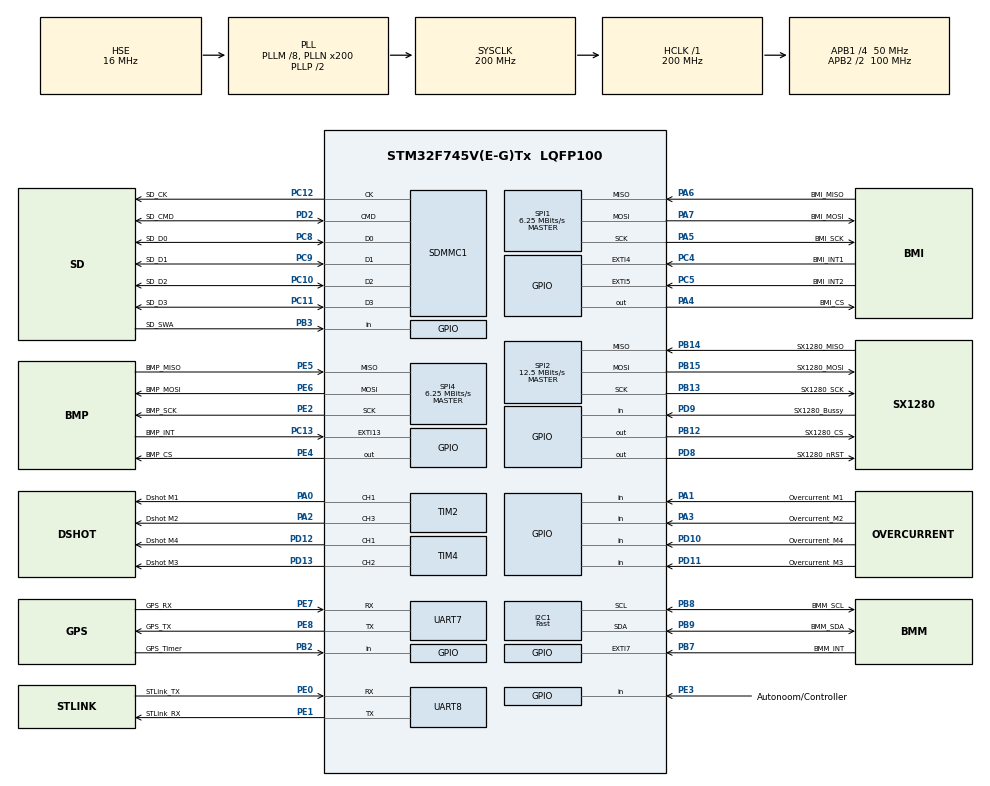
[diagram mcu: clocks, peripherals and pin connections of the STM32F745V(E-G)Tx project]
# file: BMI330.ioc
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CORTEX_M7.default_mode_Activation=1
Dma.Request0=TIM4_CH1
Dma.Request1=TIM4_CH2
Dma.Request2=TIM2_UP/CH3
Dma.Request3=TIM2_CH1
Dma.TIM2_CH1.3.Direction=DMA_MEMORY_TO_PERIPH
Dma.TIM2_CH1.3.FIFOMode=DMA_FIFOMODE_DISABLE
Dma.TIM2_CH1.3.Instance=DMA1_Stream5
Dma.TIM2_CH1.3.MemDataAlignment=DMA_MDATAALIGN_WORD
Dma.TIM2_CH1.3.MemInc=DMA_MINC_ENABLE
Dma.TIM2_CH1.3.Mode=DMA_NORMAL
Dma.TIM2_CH1.3.PeriphDataAlignment=DMA_PDATAALIGN_WORD
Dma.TIM2_CH1.3.PeriphInc=DMA_PINC_DISABLE
Dma.TIM2_CH1.3.Priority=DMA_PRIORITY_VERY_HIGH
Dma.TIM2_UP/CH3.2.Direction=DMA_MEMORY_TO_PERIPH
Dma.TIM2_UP/CH3.2.FIFOMode=DMA_FIFOMODE_DISABLE
Dma.TIM2_UP/CH3.2.Instance=DMA1_Stream1
Dma.TIM2_UP/CH3.2.MemDataAlignment=DMA_MDATAALIGN_WORD
Dma.TIM2_UP/CH3.2.MemInc=DMA_MINC_ENABLE
Dma.TIM2_UP/CH3.2.Mode=DMA_NORMAL
Dma.TIM2_UP/CH3.2.PeriphDataAlignment=DMA_PDATAALIGN_WORD
Dma.TIM2_UP/CH3.2.PeriphInc=DMA_PINC_DISABLE
Dma.TIM2_UP/CH3.2.Priority=DMA_PRIORITY_VERY_HIGH
Dma.TIM4_CH1.0.Direction=DMA_MEMORY_TO_PERIPH
Dma.TIM4_CH1.0.FIFOMode=DMA_FIFOMODE_DISABLE
Dma.TIM4_CH1.0.Instance=DMA1_Stream0
Dma.TIM4_CH1.0.MemDataAlignment=DMA_MDATAALIGN_HALFWORD
Dma.TIM4_CH1.0.MemInc=DMA_MINC_ENABLE
Dma.TIM4_CH1.0.Mode=DMA_NORMAL
Dma.TIM4_CH1.0.PeriphDataAlignment=DMA_PDATAALIGN_HALFWORD
Dma.TIM4_CH1.0.PeriphInc=DMA_PINC_DISABLE
Dma.TIM4_CH1.0.Priority=DMA_PRIORITY_VERY_HIGH
Dma.TIM4_CH2.1.Direction=DMA_MEMORY_TO_PERIPH
Dma.TIM4_CH2.1.FIFOMode=DMA_FIFOMODE_DISABLE
Dma.TIM4_CH2.1.Instance=DMA1_Stream3
Dma.TIM4_CH2.1.MemDataAlignment=DMA_MDATAALIGN_HALFWORD
Dma.TIM4_CH2.1.MemInc=DMA_MINC_ENABLE
Dma.TIM4_CH2.1.Mode=DMA_NORMAL
Dma.TIM4_CH2.1.PeriphDataAlignment=DMA_PDATAALIGN_HALFWORD
Dma.TIM4_CH2.1.PeriphInc=DMA_PINC_DISABLE
Dma.TIM4_CH2.1.Priority=DMA_PRIORITY_VERY_HIGH
FATFS.BSP.number=1
FATFS0.BSP.STBoard=false
FATFS0.BSP.api=Unknown
FATFS0.BSP.instance=PB3
FATFS0.BSP.ip=GPIO
FATFS0.BSP.mode=Input
FATFS0.BSP.name=Detect_SDIO
FATFS0.BSP.solution=PB3
I2C1.I2C_Speed_Mode=I2C_Fast
I2C1.Timing=0x00401959
Mcu.Family=STM32F7
Mcu.Name=STM32F745V(E-G)Tx
Mcu.Package=LQFP100
NVIC.DMA1_Stream0_IRQn=true\:0\:0\:false\:false\:true\:false\:true\:true
NVIC.DMA1_Stream1_IRQn=true\:0\:0\:false\:false\:true\:false\:true\:true
NVIC.DMA1_Stream3_IRQn=true\:0\:0\:false\:false\:true\:false\:true\:true
NVIC.DMA1_Stream5_IRQn=true\:0\:0\:false\:false\:true\:false\:true\:true
NVIC.EXTI15_10_IRQn=true\:0\:0\:false\:false\:true\:true\:true\:true
NVIC.EXTI4_IRQn=true\:3\:0\:true\:false\:true\:true\:true\:true
NVIC.EXTI9_5_IRQn=true\:3\:0\:true\:false\:true\:true\:true\:true
NVIC.PriorityGroup=NVIC_PRIORITYGROUP_4
PA0/WKUP.GPIO_Label=Dshot M1
PA0/WKUP.Signal=S_TIM2_CH1_ETR
PA1.GPIO_Label=Overcurrent_M1
PA1.Signal=GPIO_Input
PA13.GPIO_Label=STLink_DIO
PA13.Mode=Serial_Wire
PA13.Signal=SYS_JTMS-SWDIO
PA14.GPIO_Label=STLink_CLK
PA14.Mode=Serial_Wire
PA14.Signal=SYS_JTCK-SWCLK
PA2.GPIO_Label=Dshot M2
PA2.Signal=S_TIM2_CH3
PA3.GPIO_Label=Overcurrent_M2
PA3.Signal=GPIO_Input
PA4.GPIO_Label=BMI_CS
PA4.GPIO_PuPd=GPIO_PULLDOWN
PA4.GPIO_Speed=GPIO_SPEED_FREQ_MEDIUM
PA4.Signal=GPIO_Output
PA5.GPIO_Label=BMI_SCK
PA5.Mode=Full_Duplex_Master
PA5.Signal=SPI1_SCK
PA6.GPIO_Label=BMI_MISO
PA6.Mode=Full_Duplex_Master
PA6.Signal=SPI1_MISO
PA7.GPIO_Label=BMI_MOSI
PA7.Mode=Full_Duplex_Master
PA7.Signal=SPI1_MOSI
PB12.GPIO_Label=SX1280_CS
PB12.Signal=GPIO_Output
PB13.GPIO_Label=SX1280_SCK
PB13.Mode=Full_Duplex_Master
PB13.Signal=SPI2_SCK
PB14.GPIO_Label=SX1280_MISO
PB14.Mode=Full_Duplex_Master
PB14.Signal=SPI2_MISO
PB15.GPIO_Label=SX1280_MOSI
PB15.Mode=Full_Duplex_Master
PB15.Signal=SPI2_MOSI
PB2.GPIO_Label=GPS_Timer
PB2.Signal=GPIO_Input
PB3.GPIO_Label=SD_SWA
PB3.Signal=GPIO_Input
PB7.GPIO_Label=BMM_INT
PB7.Signal=GPXTI7
PB8.GPIO_Label=BMM_SCL
PB8.Mode=I2C
PB8.Signal=I2C1_SCL
PB9.GPIO_Label=BMM_SDA
PB9.Mode=I2C
PB9.Signal=I2C1_SDA
PC10.GPIO_Label=SD_D2
PC10.Mode=SD_4_bits_Wide_bus
PC10.Signal=SDMMC1_D2
PC11.GPIO_Label=SD_D3
PC11.Mode=SD_4_bits_Wide_bus
PC11.Signal=SDMMC1_D3
PC12.GPIO_Label=SD_CK
PC12.Mode=SD_4_bits_Wide_bus
PC12.Signal=SDMMC1_CK
PC13.GPIO_Label=BMP_INT
PC13.Signal=GPXTI13
PC4.GPIO_Label=BMI_INT1
PC4.Signal=GPXTI4
PC5.GPIO_Label=BMI_INT2
PC5.Signal=GPXTI5
PC8.GPIO_Label=SD_D0
PC8.Mode=SD_4_bits_Wide_bus
PC8.Signal=SDMMC1_D0
PC9.GPIO_Label=SD_D1
PC9.Mode=SD_4_bits_Wide_bus
PC9.Signal=SDMMC1_D1
PD10.GPIO_Label=Overcurrent_M4
PD10.Signal=GPIO_Input
PD11.GPIO_Label=Overcurrent_M3
PD11.Signal=GPIO_Input
PD12.GPIO_Label=Dshot M4
PD12.Signal=S_TIM4_CH1
PD13.GPIO_Label=Dshot M3
PD13.Signal=S_TIM4_CH2
PD2.GPIO_Label=SD_CMD
PD2.Mode=SD_4_bits_Wide_bus
PD2.Signal=SDMMC1_CMD
PD8.GPIO_Label=SX1280_nRST
PD8.Signal=GPIO_Output
PD9.GPIO_Label=SX1280_Bussy
PD9.Signal=GPIO_Input
PE0.GPIO_Label=STLink_TX
PE0.Mode=Asynchronous
PE0.Signal=UART8_RX
PE1.GPIO_Label=STLink_RX
PE1.Mode=Asynchronous
PE1.Signal=UART8_TX
PE2.GPIO_Label=BMP_SCK
PE2.Mode=Full_Duplex_Master
PE2.Signal=SPI4_SCK
PE3.GPIO_Label=Autonoom/Controller
PE3.Signal=GPIO_Input
PE4.GPIO_Label=BMP_CS
PE4.Signal=GPIO_Output
PE5.GPIO_Label=BMP_MISO
PE5.Mode=Full_Duplex_Master
PE5.Signal=SPI4_MISO
PE6.GPIO_Label=BMP_MOSI
PE6.Mode=Full_Duplex_Master
PE6.Signal=SPI4_MOSI
PE7.GPIO_Label=GPS_RX
PE7.Mode=Asynchronous
PE7.Signal=UART7_RX
PE8.GPIO_Label=GPS_TX
PE8.Mode=Asynchronous
PE8.Signal=UART7_TX
PH0/OSC_IN.Mode=HSE-External-Oscillator
PH0/OSC_IN.Signal=RCC_OSC_IN
PH1/OSC_OUT.Mode=HSE-External-Oscillator
PH1/OSC_OUT.Signal=RCC_OSC_OUT
ProjectManager.HeapSize=0x200
ProjectManager.StackSize=0x400
ProjectManager.TargetToolchain=STM32CubeIDE
RCC.AHBFreq_Value=200000000
RCC.APB1CLKDivider=RCC_HCLK_DIV4
RCC.APB1Freq_Value=50000000
RCC.APB1TimFreq_Value=100000000
RCC.APB2CLKDivider=RCC_HCLK_DIV2
RCC.APB2Freq_Value=100000000
RCC.APB2TimFreq_Value=200000000
RCC.CortexFreq_Value=200000000
RCC.HCLKFreq_Value=200000000
RCC.HSE_VALUE=16000000
RCC.HSI_VALUE=16000000
RCC.LSE_VALUE=32768
RCC.PLLM=8
RCC.PLLN=200
RCC.PLLQ=8
RCC.PLLSourceVirtual=RCC_PLLSOURCE_HSE
RCC.SDMMCClockSelection=RCC_SDMMC1CLKSOURCE_CLK48
RCC.SYSCLKFreq_VALUE=200000000
RCC.SYSCLKSource=RCC_SYSCLKSOURCE_PLLCLK
RCC.USBFreq_Value=50000000
RCC.VCOOutputFreq_Value=400000000
SDMMC1.ClockBypass=SDMMC_CLOCK_BYPASS_DISABLE
SH.S_TIM2_CH1_ETR.0=TIM2_CH1,PWM Generation1 CH1
SH.S_TIM2_CH3.0=TIM2_CH3,PWM Generation3 CH3
SH.S_TIM4_CH1.0=TIM4_CH1,PWM Generation1 CH1
SH.S_TIM4_CH2.0=TIM4_CH2,PWM Generation2 CH2
SPI1.BaudRatePrescaler=SPI_BAUDRATEPRESCALER_16
SPI1.CLKPhase=SPI_PHASE_2EDGE
SPI1.CLKPolarity=SPI_POLARITY_HIGH
SPI1.CalculateBaudRate=6.25 MBits/s
SPI1.DataSize=SPI_DATASIZE_8BIT
SPI1.Direction=SPI_DIRECTION_2LINES
SPI1.Mode=SPI_MODE_MASTER
SPI1.VirtualType=VM_MASTER
SPI2.BaudRatePrescaler=SPI_BAUDRATEPRESCALER_4
SPI2.CalculateBaudRate=12.5 MBits/s
SPI2.DataSize=SPI_DATASIZE_8BIT
SPI2.Direction=SPI_DIRECTION_2LINES
SPI2.Mode=SPI_MODE_MASTER
SPI2.NSSPMode=SPI_NSS_PULSE_DISABLE
SPI2.VirtualType=VM_MASTER
SPI4.BaudRatePrescaler=SPI_BAUDRATEPRESCALER_16
SPI4.CLKPhase=SPI_PHASE_1EDGE
SPI4.CLKPolarity=SPI_POLARITY_LOW
SPI4.CalculateBaudRate=6.25 MBits/s
SPI4.DataSize=SPI_DATASIZE_8BIT
SPI4.Direction=SPI_DIRECTION_2LINES
SPI4.Mode=SPI_MODE_MASTER
SPI4.VirtualType=VM_MASTER
TIM2.Channel-PWM\ Generation1\ CH1=TIM_CHANNEL_1
TIM2.Channel-PWM\ Generation3\ CH3=TIM_CHANNEL_3
TIM4.Channel-PWM\ Generation1\ CH1=TIM_CHANNEL_1
TIM4.Channel-PWM\ Generation2\ CH2=TIM_CHANNEL_2
VP_FATFS_VS_SDIO.Mode=SDIO
board=custom

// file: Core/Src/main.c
/* USER CODE BEGIN Header */
/**
  ******************************************************************************
  * @file           : main.c
  * @brief          : Main program body
  ******************************************************************************
  * @attention
  *
  * Copyright (c) 2026 STMicroelectronics.
  * All rights reserved.
  *
  * This software is licensed under terms that can be found in the LICENSE file
  * in the root directory of this software component.
  * If no LICENSE file comes with this software, it is provided AS-IS.
  *
  ******************************************************************************
  */
/* USER CODE END Header */
#include "main.h"
#include "fatfs.h"

/* USER CODE BEGIN Includes */
#include "stdio.h"
//#include "BMP384.h"
//#include "BMM350.h"
#include "BMI330.h"
//#include "pid_regulator.h"
/* USER CODE END Includes */

I2C_HandleTypeDef hi2c1;

SD_HandleTypeDef hsd1;

SPI_HandleTypeDef hspi1;
SPI_HandleTypeDef hspi2;
SPI_HandleTypeDef hspi4;

TIM_HandleTypeDef htim2;
TIM_HandleTypeDef htim4;
DMA_HandleTypeDef hdma_tim2_up_ch3;
DMA_HandleTypeDef hdma_tim2_ch1;
DMA_HandleTypeDef hdma_tim4_ch1;
DMA_HandleTypeDef hdma_tim4_ch2;

UART_HandleTypeDef huart7;
UART_HandleTypeDef huart8;

/* USER CODE BEGIN PV */
/*
PID_Handle_t struct_PidRateRoll;
PID_Handle_t struct_PidRatePitch;
PID_Handle_t struct_PidRateYaw;
BMM350_MagData BMM350_Data;
*/
BMI330_Frame current_data;
/* USER CODE END PV */

void SystemClock_Config(void);
static void MPU_Config(void);
static void MX_GPIO_Init(void);
static void MX_DMA_Init(void);
static void MX_I2C1_Init(void);
static void MX_SDMMC1_SD_Init(void);
static void MX_SPI1_Init(void);
static void MX_SPI2_Init(void);
static void MX_SPI4_Init(void);
static void MX_TIM2_Init(void);
static void MX_TIM4_Init(void);
static void MX_UART7_Init(void);
static void MX_UART8_Init(void);

/* USER CODE BEGIN 0 */

volatile int new_gyro_data_available = 0;

int _write(int file, char *ptr, int len) {
	for(int i = 0; i < len; i++){
		if(ptr[i]=='\n'){
			HAL_UART_Transmit(&huart8, (uint8_t*)"\r", 1, HAL_MAX_DELAY);
		}
		HAL_UART_Transmit(&huart8, (uint8_t*)&ptr[i], 1, HAL_MAX_DELAY);
	}
    return len;
}
/* USER CODE END 0 */

int main(void)
{

  /* MPU Configuration--------------------------------------------------------*/
  MPU_Config();

  /* MCU Configuration--------------------------------------------------------*/

  /* Reset of all peripherals, Initializes the Flash interface and the Systick. */
  HAL_Init();

  /* USER CODE BEGIN Init */
 /* Init_RateLoops();
  BMM350_Init();
  BMP384_Init();
  PID_HandleInit(struct_PidRateRoll);
  PID_HandleInit(struct_PidRatePitch);
  PID_HandleInit(struct_PidRateYaw);
  */
  /* USER CODE END Init */

  /* Configure the system clock */
  SystemClock_Config();

  /* Initialize all configured peripherals */
  MX_GPIO_Init();
  MX_DMA_Init();
  MX_I2C1_Init();
  MX_SDMMC1_SD_Init();
  MX_SPI1_Init();
  MX_SPI2_Init();
  MX_SPI4_Init();
  MX_TIM2_Init();
  MX_TIM4_Init();
  MX_UART7_Init();
  MX_FATFS_Init();
  MX_UART8_Init();
  /* USER CODE BEGIN 2 */
  BMI330_Init();
  /* USER CODE END 2 */

  /* Infinite loop */
  /* USER CODE BEGIN WHILE */
  while (1)
  {
	  if (new_gyro_data_available) {
		  uint8_t data[15];
			float roll = 0;
			float pitch = 0;
			BMI330_ReadFIFO(data, 15);
			BMI330_ParseFIFOFrame(data, &current_data);
			BMI330_GetAngles(&current_data, &roll, &pitch);

			printf("Data van de BMI INT1 pin: \n");
			printf("Gyro data: X = %f, Y = %f, Z = %f \n", current_data.gyr_x, current_data.gyr_y, current_data.gyr_z);
			printf("acc  data: X = %f, Y = %f, Z = %f \n", current_data.acc_x, current_data.acc_y, current_data.acc_z);
			printf("Roll: %f \n", roll);
			printf("Pitch: %f \n", pitch);
			printf("temp: %f \n\n\n\n", current_data.sensor_temp);
	      new_gyro_data_available = 0; // Reset de vlag
	  }
	  printf("Test\n");
	  HAL_Delay(1000);
    /* USER CODE END WHILE */

    /* USER CODE BEGIN 3 */
	  //HAL_Delay(1000);

  }
  /* USER CODE END 3 */
}

void SystemClock_Config(void)
{
  RCC_OscInitTypeDef RCC_OscInitStruct = {0};
  RCC_ClkInitTypeDef RCC_ClkInitStruct = {0};

  /** Configure the main internal regulator output voltage
  */
  __HAL_RCC_PWR_CLK_ENABLE();
  __HAL_PWR_VOLTAGESCALING_CONFIG(PWR_REGULATOR_VOLTAGE_SCALE1);

  /** Initializes the RCC Oscillators according to the specified parameters
  * in the RCC_OscInitTypeDef structure.
  */
  RCC_OscInitStruct.OscillatorType = RCC_OSCILLATORTYPE_HSE;
  RCC_OscInitStruct.HSEState = RCC_HSE_ON;
  RCC_OscInitStruct.PLL.PLLState = RCC_PLL_ON;
  RCC_OscInitStruct.PLL.PLLSource = RCC_PLLSOURCE_HSE;
  RCC_OscInitStruct.PLL.PLLM = 8;
  RCC_OscInitStruct.PLL.PLLN = 200;
  RCC_OscInitStruct.PLL.PLLP = RCC_PLLP_DIV2;
  RCC_OscInitStruct.PLL.PLLQ = 8;
  if (HAL_RCC_OscConfig(&RCC_OscInitStruct) != HAL_OK)
  {
    Error_Handler();
  }

  /** Activate the Over-Drive mode
  */
  if (HAL_PWREx_EnableOverDrive() != HAL_OK)
  {
    Error_Handler();
  }

  /** Initializes the CPU, AHB and APB buses clocks
  */
  RCC_ClkInitStruct.ClockType = RCC_CLOCKTYPE_HCLK|RCC_CLOCKTYPE_SYSCLK
                              |RCC_CLOCKTYPE_PCLK1|RCC_CLOCKTYPE_PCLK2;
  RCC_ClkInitStruct.SYSCLKSource = RCC_SYSCLKSOURCE_PLLCLK;
  RCC_ClkInitStruct.AHBCLKDivider = RCC_SYSCLK_DIV1;
  RCC_ClkInitStruct.APB1CLKDivider = RCC_HCLK_DIV4;
  RCC_ClkInitStruct.APB2CLKDivider = RCC_HCLK_DIV2;

  if (HAL_RCC_ClockConfig(&RCC_ClkInitStruct, FLASH_LATENCY_6) != HAL_OK)
  {
    Error_Handler();
  }
}

static void MX_I2C1_Init(void)
{

  hi2c1.Instance = I2C1;
  hi2c1.Init.Timing = 0x00401959;
  hi2c1.Init.OwnAddress1 = 0;
  hi2c1.Init.AddressingMode = I2C_ADDRESSINGMODE_7BIT;
  hi2c1.Init.DualAddressMode = I2C_DUALADDRESS_DISABLE;
  hi2c1.Init.OwnAddress2 = 0;
  hi2c1.Init.OwnAddress2Masks = I2C_OA2_NOMASK;
  hi2c1.Init.GeneralCallMode = I2C_GENERALCALL_DISABLE;
  hi2c1.Init.NoStretchMode = I2C_NOSTRETCH_DISABLE;
  if (HAL_I2C_Init(&hi2c1) != HAL_OK)
  {
    Error_Handler();
  }

  /** Configure Analogue filter
  */
  if (HAL_I2CEx_ConfigAnalogFilter(&hi2c1, I2C_ANALOGFILTER_ENABLE) != HAL_OK)
  {
    Error_Handler();
  }

  /** Configure Digital filter
  */
  if (HAL_I2CEx_ConfigDigitalFilter(&hi2c1, 0) != HAL_OK)
  {
    Error_Handler();
  }

}

static void MX_SDMMC1_SD_Init(void)
{

  hsd1.Instance = SDMMC1;
  hsd1.Init.ClockEdge = SDMMC_CLOCK_EDGE_RISING;
  hsd1.Init.ClockBypass = SDMMC_CLOCK_BYPASS_DISABLE;
  hsd1.Init.ClockPowerSave = SDMMC_CLOCK_POWER_SAVE_DISABLE;
  hsd1.Init.BusWide = SDMMC_BUS_WIDE_1B;
  hsd1.Init.HardwareFlowControl = SDMMC_HARDWARE_FLOW_CONTROL_DISABLE;
  hsd1.Init.ClockDiv = 0;

}

static void MX_SPI1_Init(void)
{

  /* SPI1 parameter configuration*/
  hspi1.Instance = SPI1;
  hspi1.Init.Mode = SPI_MODE_MASTER;
  hspi1.Init.Direction = SPI_DIRECTION_2LINES;
  hspi1.Init.DataSize = SPI_DATASIZE_8BIT;
  hspi1.Init.CLKPolarity = SPI_POLARITY_HIGH;
  hspi1.Init.CLKPhase = SPI_PHASE_2EDGE;
  hspi1.Init.NSS = SPI_NSS_SOFT;
  hspi1.Init.BaudRatePrescaler = SPI_BAUDRATEPRESCALER_16;
  hspi1.Init.FirstBit = SPI_FIRSTBIT_MSB;
  hspi1.Init.TIMode = SPI_TIMODE_DISABLE;
  hspi1.Init.CRCCalculation = SPI_CRCCALCULATION_DISABLE;
  hspi1.Init.CRCPolynomial = 7;
  hspi1.Init.CRCLength = SPI_CRC_LENGTH_DATASIZE;
  hspi1.Init.NSSPMode = SPI_NSS_PULSE_DISABLE;
  if (HAL_SPI_Init(&hspi1) != HAL_OK)
  {
    Error_Handler();
  }

}

static void MX_SPI2_Init(void)
{

  /* SPI2 parameter configuration*/
  hspi2.Instance = SPI2;
  hspi2.Init.Mode = SPI_MODE_MASTER;
  hspi2.Init.Direction = SPI_DIRECTION_2LINES;
  hspi2.Init.DataSize = SPI_DATASIZE_8BIT;
  hspi2.Init.CLKPolarity = SPI_POLARITY_LOW;
  hspi2.Init.CLKPhase = SPI_PHASE_1EDGE;
  hspi2.Init.NSS = SPI_NSS_SOFT;
  hspi2.Init.BaudRatePrescaler = SPI_BAUDRATEPRESCALER_4;
  hspi2.Init.FirstBit = SPI_FIRSTBIT_MSB;
  hspi2.Init.TIMode = SPI_TIMODE_DISABLE;
  hspi2.Init.CRCCalculation = SPI_CRCCALCULATION_DISABLE;
  hspi2.Init.CRCPolynomial = 7;
  hspi2.Init.CRCLength = SPI_CRC_LENGTH_DATASIZE;
  hspi2.Init.NSSPMode = SPI_NSS_PULSE_DISABLE;
  if (HAL_SPI_Init(&hspi2) != HAL_OK)
  {
    Error_Handler();
  }

}

static void MX_SPI4_Init(void)
{

  /* SPI4 parameter configuration*/
  hspi4.Instance = SPI4;
  hspi4.Init.Mode = SPI_MODE_MASTER;
  hspi4.Init.Direction = SPI_DIRECTION_2LINES;
  hspi4.Init.DataSize = SPI_DATASIZE_8BIT;
  hspi4.Init.CLKPolarity = SPI_POLARITY_LOW;
  hspi4.Init.CLKPhase = SPI_PHASE_1EDGE;
  hspi4.Init.NSS = SPI_NSS_SOFT;
  hspi4.Init.BaudRatePrescaler = SPI_BAUDRATEPRESCALER_16;
  hspi4.Init.FirstBit = SPI_FIRSTBIT_MSB;
  hspi4.Init.TIMode = SPI_TIMODE_DISABLE;
  hspi4.Init.CRCCalculation = SPI_CRCCALCULATION_DISABLE;
  hspi4.Init.CRCPolynomial = 7;
  hspi4.Init.CRCLength = SPI_CRC_LENGTH_DATASIZE;
  hspi4.Init.NSSPMode = SPI_NSS_PULSE_ENABLE;
  if (HAL_SPI_Init(&hspi4) != HAL_OK)
  {
    Error_Handler();
  }

}

static void MX_TIM2_Init(void)
{

  TIM_MasterConfigTypeDef sMasterConfig = {0};
  TIM_OC_InitTypeDef sConfigOC = {0};

  htim2.Instance = TIM2;
  htim2.Init.Prescaler = 0;
  htim2.Init.CounterMode = TIM_COUNTERMODE_UP;
  htim2.Init.Period = 4294967295;
  htim2.Init.ClockDivision = TIM_CLOCKDIVISION_DIV1;
  htim2.Init.AutoReloadPreload = TIM_AUTORELOAD_PRELOAD_DISABLE;
  if (HAL_TIM_PWM_Init(&htim2) != HAL_OK)
  {
    Error_Handler();
  }
  sMasterConfig.MasterOutputTrigger = TIM_TRGO_RESET;
  sMasterConfig.MasterSlaveMode = TIM_MASTERSLAVEMODE_DISABLE;
  if (HAL_TIMEx_MasterConfigSynchronization(&htim2, &sMasterConfig) != HAL_OK)
  {
    Error_Handler();
  }
  sConfigOC.OCMode = TIM_OCMODE_PWM1;
  sConfigOC.Pulse = 0;
  sConfigOC.OCPolarity = TIM_OCPOLARITY_HIGH;
  sConfigOC.OCFastMode = TIM_OCFAST_DISABLE;
  if (HAL_TIM_PWM_ConfigChannel(&htim2, &sConfigOC, TIM_CHANNEL_1) != HAL_OK)
  {
    Error_Handler();
  }
  if (HAL_TIM_PWM_ConfigChannel(&htim2, &sConfigOC, TIM_CHANNEL_3) != HAL_OK)
  {
    Error_Handler();
  }
  HAL_TIM_MspPostInit(&htim2);

}

static void MX_TIM4_Init(void)
{

  TIM_MasterConfigTypeDef sMasterConfig = {0};
  TIM_OC_InitTypeDef sConfigOC = {0};

  htim4.Instance = TIM4;
  htim4.Init.Prescaler = 0;
  htim4.Init.CounterMode = TIM_COUNTERMODE_UP;
  htim4.Init.Period = 65535;
  htim4.Init.ClockDivision = TIM_CLOCKDIVISION_DIV1;
  htim4.Init.AutoReloadPreload = TIM_AUTORELOAD_PRELOAD_DISABLE;
  if (HAL_TIM_PWM_Init(&htim4) != HAL_OK)
  {
    Error_Handler();
  }
  sMasterConfig.MasterOutputTrigger = TIM_TRGO_RESET;
  sMasterConfig.MasterSlaveMode = TIM_MASTERSLAVEMODE_DISABLE;
  if (HAL_TIMEx_MasterConfigSynchronization(&htim4, &sMasterConfig) != HAL_OK)
  {
    Error_Handler();
  }
  sConfigOC.OCMode = TIM_OCMODE_PWM1;
  sConfigOC.Pulse = 0;
  sConfigOC.OCPolarity = TIM_OCPOLARITY_HIGH;
  sConfigOC.OCFastMode = TIM_OCFAST_DISABLE;
  if (HAL_TIM_PWM_ConfigChannel(&htim4, &sConfigOC, TIM_CHANNEL_1) != HAL_OK)
  {
    Error_Handler();
  }
  if (HAL_TIM_PWM_ConfigChannel(&htim4, &sConfigOC, TIM_CHANNEL_2) != HAL_OK)
  {
    Error_Handler();
  }
  HAL_TIM_MspPostInit(&htim4);

}

static void MX_UART7_Init(void)
{

  huart7.Instance = UART7;
  huart7.Init.BaudRate = 115200;
  huart7.Init.WordLength = UART_WORDLENGTH_8B;
  huart7.Init.StopBits = UART_STOPBITS_1;
  huart7.Init.Parity = UART_PARITY_NONE;
  huart7.Init.Mode = UART_MODE_TX_RX;
  huart7.Init.HwFlowCtl = UART_HWCONTROL_NONE;
  huart7.Init.OverSampling = UART_OVERSAMPLING_16;
  huart7.Init.OneBitSampling = UART_ONE_BIT_SAMPLE_DISABLE;
  huart7.AdvancedInit.AdvFeatureInit = UART_ADVFEATURE_NO_INIT;
  if (HAL_UART_Init(&huart7) != HAL_OK)
  {
    Error_Handler();
  }

}

static void MX_UART8_Init(void)
{

  huart8.Instance = UART8;
  huart8.Init.BaudRate = 115200;
  huart8.Init.WordLength = UART_WORDLENGTH_8B;
  huart8.Init.StopBits = UART_STOPBITS_1;
  huart8.Init.Parity = UART_PARITY_NONE;
  huart8.Init.Mode = UART_MODE_TX_RX;
  huart8.Init.HwFlowCtl = UART_HWCONTROL_NONE;
  huart8.Init.OverSampling = UART_OVERSAMPLING_16;
  huart8.Init.OneBitSampling = UART_ONE_BIT_SAMPLE_DISABLE;
  huart8.AdvancedInit.AdvFeatureInit = UART_ADVFEATURE_NO_INIT;
  if (HAL_UART_Init(&huart8) != HAL_OK)
  {
    Error_Handler();
  }

}

static void MX_DMA_Init(void)
{

  /* DMA controller clock enable */
  __HAL_RCC_DMA1_CLK_ENABLE();

  /* DMA interrupt init */
  /* DMA1_Stream0_IRQn interrupt configuration */
  HAL_NVIC_SetPriority(DMA1_Stream0_IRQn, 0, 0);
  HAL_NVIC_EnableIRQ(DMA1_Stream0_IRQn);
  /* DMA1_Stream1_IRQn interrupt configuration */
  HAL_NVIC_SetPriority(DMA1_Stream1_IRQn, 0, 0);
  HAL_NVIC_EnableIRQ(DMA1_Stream1_IRQn);
  /* DMA1_Stream3_IRQn interrupt configuration */
  HAL_NVIC_SetPriority(DMA1_Stream3_IRQn, 0, 0);
  HAL_NVIC_EnableIRQ(DMA1_Stream3_IRQn);
  /* DMA1_Stream5_IRQn interrupt configuration */
  HAL_NVIC_SetPriority(DMA1_Stream5_IRQn, 0, 0);
  HAL_NVIC_EnableIRQ(DMA1_Stream5_IRQn);

}

static void MX_GPIO_Init(void)
{
  GPIO_InitTypeDef GPIO_InitStruct = {0};

  /* GPIO Ports Clock Enable */
  __HAL_RCC_GPIOE_CLK_ENABLE();
  __HAL_RCC_GPIOC_CLK_ENABLE();
  __HAL_RCC_GPIOH_CLK_ENABLE();
  __HAL_RCC_GPIOA_CLK_ENABLE();
  __HAL_RCC_GPIOB_CLK_ENABLE();
  __HAL_RCC_GPIOD_CLK_ENABLE();

  /*Configure GPIO pin Output Level */
  HAL_GPIO_WritePin(BMP_CS_GPIO_Port, BMP_CS_Pin, GPIO_PIN_RESET);

  /*Configure GPIO pin Output Level */
  HAL_GPIO_WritePin(BMI_CS_GPIO_Port, BMI_CS_Pin, GPIO_PIN_RESET);

  /*Configure GPIO pin Output Level */
  HAL_GPIO_WritePin(SX1280_CS_GPIO_Port, SX1280_CS_Pin, GPIO_PIN_RESET);

  /*Configure GPIO pin Output Level */
  HAL_GPIO_WritePin(SX1280_nRST_GPIO_Port, SX1280_nRST_Pin, GPIO_PIN_RESET);

  /*Configure GPIO pin : Autonoom_Controller_Pin */
  GPIO_InitStruct.Pin = Autonoom_Controller_Pin;
  GPIO_InitStruct.Mode = GPIO_MODE_INPUT;
  GPIO_InitStruct.Pull = GPIO_NOPULL;
  HAL_GPIO_Init(Autonoom_Controller_GPIO_Port, &GPIO_InitStruct);

  /*Configure GPIO pin : BMP_CS_Pin */
  GPIO_InitStruct.Pin = BMP_CS_Pin;
  GPIO_InitStruct.Mode = GPIO_MODE_OUTPUT_PP;
  GPIO_InitStruct.Pull = GPIO_NOPULL;
  GPIO_InitStruct.Speed = GPIO_SPEED_FREQ_LOW;
  HAL_GPIO_Init(BMP_CS_GPIO_Port, &GPIO_InitStruct);

  /*Configure GPIO pins : BMP_INT_Pin BMI_INT1_Pin BMI_INT2_Pin */
  GPIO_InitStruct.Pin = BMP_INT_Pin|BMI_INT1_Pin|BMI_INT2_Pin;
  GPIO_InitStruct.Mode = GPIO_MODE_IT_RISING;
  GPIO_InitStruct.Pull = GPIO_NOPULL;
  HAL_GPIO_Init(GPIOC, &GPIO_InitStruct);

  /*Configure GPIO pins : Overcurrent_M1_Pin Overcurrent_M2_Pin */
  GPIO_InitStruct.Pin = Overcurrent_M1_Pin|Overcurrent_M2_Pin;
  GPIO_InitStruct.Mode = GPIO_MODE_INPUT;
  GPIO_InitStruct.Pull = GPIO_NOPULL;
  HAL_GPIO_Init(GPIOA, &GPIO_InitStruct);

  /*Configure GPIO pin : BMI_CS_Pin */
  GPIO_InitStruct.Pin = BMI_CS_Pin;
  GPIO_InitStruct.Mode = GPIO_MODE_OUTPUT_PP;
  GPIO_InitStruct.Pull = GPIO_PULLDOWN;
  GPIO_InitStruct.Speed = GPIO_SPEED_FREQ_MEDIUM;
  HAL_GPIO_Init(BMI_CS_GPIO_Port, &GPIO_InitStruct);

  /*Configure GPIO pins : GPS_Timer_Pin SD_SWA_Pin */
  GPIO_InitStruct.Pin = GPS_Timer_Pin|SD_SWA_Pin;
  GPIO_InitStruct.Mode = GPIO_MODE_INPUT;
  GPIO_InitStruct.Pull = GPIO_NOPULL;
  HAL_GPIO_Init(GPIOB, &GPIO_InitStruct);

  /*Configure GPIO pin : SX1280_CS_Pin */
  GPIO_InitStruct.Pin = SX1280_CS_Pin;
  GPIO_InitStruct.Mode = GPIO_MODE_OUTPUT_PP;
  GPIO_InitStruct.Pull = GPIO_NOPULL;
  GPIO_InitStruct.Speed = GPIO_SPEED_FREQ_LOW;
  HAL_GPIO_Init(SX1280_CS_GPIO_Port, &GPIO_InitStruct);

  /*Configure GPIO pin : SX1280_nRST_Pin */
  GPIO_InitStruct.Pin = SX1280_nRST_Pin;
  GPIO_InitStruct.Mode = GPIO_MODE_OUTPUT_PP;
  GPIO_InitStruct.Pull = GPIO_NOPULL;
  GPIO_InitStruct.Speed = GPIO_SPEED_FREQ_LOW;
  HAL_GPIO_Init(SX1280_nRST_GPIO_Port, &GPIO_InitStruct);

  /*Configure GPIO pins : SX1280_Bussy_Pin Overcurrent_M4_Pin Overcurrent_M3_Pin */
  GPIO_InitStruct.Pin = SX1280_Bussy_Pin|Overcurrent_M4_Pin|Overcurrent_M3_Pin;
  GPIO_InitStruct.Mode = GPIO_MODE_INPUT;
  GPIO_InitStruct.Pull = GPIO_NOPULL;
  HAL_GPIO_Init(GPIOD, &GPIO_InitStruct);

  /*Configure GPIO pin : BMM_INT_Pin */
  GPIO_InitStruct.Pin = BMM_INT_Pin;
  GPIO_InitStruct.Mode = GPIO_MODE_IT_RISING;
  GPIO_InitStruct.Pull = GPIO_NOPULL;
  HAL_GPIO_Init(BMM_INT_GPIO_Port, &GPIO_InitStruct);

  /* EXTI interrupt init*/
  HAL_NVIC_SetPriority(EXTI4_IRQn, 3, 0);
  HAL_NVIC_EnableIRQ(EXTI4_IRQn);

  HAL_NVIC_SetPriority(EXTI9_5_IRQn, 3, 0);
  HAL_NVIC_EnableIRQ(EXTI9_5_IRQn);

  HAL_NVIC_SetPriority(EXTI15_10_IRQn, 0, 0);
  HAL_NVIC_EnableIRQ(EXTI15_10_IRQn);

}

/* USER CODE BEGIN 4 */
/*
void Update_Motors(uint16_t throttle, int16_t roll, int16_t pitch, int16_t yaw) {
    int16_t m1 = throttle + pitch + roll - yaw; // Linksvoor
    int16_t m2 = throttle + pitch - roll + yaw; // Rechtsvoor
    int16_t m3 = throttle - pitch + roll + yaw; // Linksachter
    int16_t m4 = throttle - pitch - roll - yaw; // Rechtsachter
}
*/
void HAL_GPIO_EXTI_Callback(uint16_t GPIO_Pin)
{
    if (GPIO_Pin == GPIO_PIN_4)	//INT1 van BMI
    {
    	new_gyro_data_available = 1;
    	/*
    	uint8_t data[15];
    	uint16_t len = 15;
    	float roll = 0;
    	float pitch = 0;
    	BMI330_ReadFIFO(data, len);
    	BMI330_ParseFIFOFrame(data, &current_data);
    	BMI330_GetAngles(&current_data, &roll, &pitch);

    	printf("Data van de BMI INT1 pin: \n");
    	printf("Gyro data: X = %f, Y = %f, Z = %f \n", current_data.gyr_x, current_data.gyr_y, current_data.gyr_z);
    	printf("acc  data: X = %f, Y = %f, Z = %f \n", current_data.acc_x, current_data.acc_y, current_data.acc_z);
    	printf("temp: %f \n\n\n\n", current_data.sensor_temp);
    	*/
    	return;

    }

    if (GPIO_Pin == GPIO_PIN_5)	//INT2 van BMI			Deze geeft een signaal als er beweging is
    {
    	printf("Beweging gedetecteerd\n");
    	return;
    }
/*
    if (GPIO_Pin == GPIO_PIN_7)	//INT van BMM350
    {
    	float roll, pitch;
    	BMI330_GetAngles(current_data, &roll, &pitch);
    	BMM350_GetData(&BMM350_Data, roll, pitch);
    	float hoek = BMM350_Data.richting;

    	// calibrate is iets wat we eenmalig moeten doen, hieruit halen we de vaste ofset waardes die we daarna kunnen gebruiken
    	BMM350_Calibrate(BMM350_Data.x, BMM350_Data.y, BMM350_Data.z, BMM350_Data.x_offset, BMM350_Data.y_offset, BMM350_Data.z_offset);
    	printf("BMM350 Data: \n");
    	printf("BMM350 Raw Data: x = %d, Y = %d, Z = %d \n\n", BMM350_Data.x, BMM350_Data.y, BMM350_Data.z);

    	// enkel de laatste offset meting is belangerijk want dan heb je de uiterste bereikt
    	printf("BMM350 offsets Data: x = %d, Y = %d, Z = %d \n\n\n\n", BMM350_Data.x_offset, BMM350_Data.y_offset, BMM350_Data.z_offset);

    	g_hoek = hoek;
    	return;
    }
    */
    /*
    if (GPIO_Pin == GPIO_PIN_13) //INT van BMP
    {
    	float druk = BMP384_ReadData();
    	float hoogte = BMP384_CalculateAltitude(druk);

    	printf("BMP384 Data: \n");
    	printf("BMP druk = %f, hoogte = %f", druk, hoogte);
    	g_druk = druk;
    	g_hoogte = hoogte;
    	return;
    }
    */
}

/* USER CODE END 4 */

 /* MPU Configuration */

void MPU_Config(void)
{
  MPU_Region_InitTypeDef MPU_InitStruct = {0};

  /* Disables the MPU */
  HAL_MPU_Disable();

  /** Initializes and configures the Region and the memory to be protected
  */
  MPU_InitStruct.Enable = MPU_REGION_ENABLE;
  MPU_InitStruct.Number = MPU_REGION_NUMBER0;
  MPU_InitStruct.BaseAddress = 0x0;
  MPU_InitStruct.Size = MPU_REGION_SIZE_4GB;
  MPU_InitStruct.SubRegionDisable = 0x87;
  MPU_InitStruct.TypeExtField = MPU_TEX_LEVEL0;
  MPU_InitStruct.AccessPermission = MPU_REGION_NO_ACCESS;
  MPU_InitStruct.DisableExec = MPU_INSTRUCTION_ACCESS_DISABLE;
  MPU_InitStruct.IsShareable = MPU_ACCESS_SHAREABLE;
  MPU_InitStruct.IsCacheable = MPU_ACCESS_NOT_CACHEABLE;
  MPU_InitStruct.IsBufferable = MPU_ACCESS_NOT_BUFFERABLE;

  HAL_MPU_ConfigRegion(&MPU_InitStruct);
  /* Enables the MPU */
  HAL_MPU_Enable(MPU_PRIVILEGED_DEFAULT);

}

void Error_Handler(void)
{
  __disable_irq();
  while (1)
  {
  }
}
